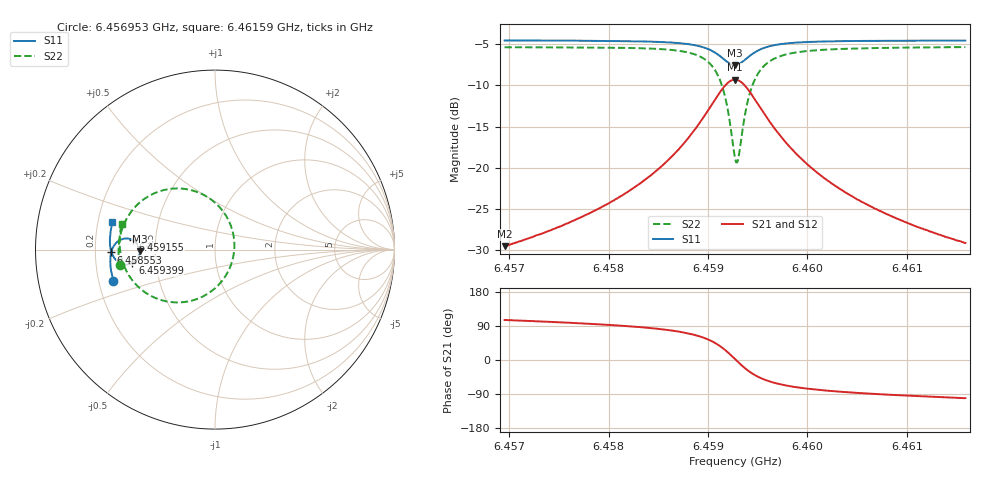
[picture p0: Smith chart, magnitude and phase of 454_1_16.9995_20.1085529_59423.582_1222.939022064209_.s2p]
#  HZ  S  RI  R  50.00
! Rohde & Schwarz Vector Network Analyzer
! Rohde-Schwarz,ZNB20-2Port,1311601062101988,3.16
! Created: UTC 3/20/2024, 11:12:23 PM
! freq[Hz]  re:S11  im:S11  re:S21  im:S21  re:S12  im:S12  re:S22  im:S22
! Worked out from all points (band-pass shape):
!   401 points, 6.456953 GHz to 6.46159 GHz, reference 50 ohm
!   highest |S21| = -9.30 dB at 6.459271 GHz (marker M1); lowest = -29.5 dB at 6.456953 GHz (marker M2)
!   |S21| within 3 dB of the highest: 6.45904 GHz to 6.459503 GHz (463.4 kHz wide, 0.00717 % of centre)
!   lowest |S11| = -7.5 dB at 6.459271 GHz (marker M3), VSWR 2.45, Z = 20.4 - j0.518 ohm
!   |S11| at or under -10 dB: nowhere
!   |S22| runs from -19.3 to -5.4 dB; largest |S21 - S12| = 0.013
!   S11 on the Smith chart (normalised r, x): 6.456953 GHz: 0.26, -0.14; 6.458553 GHz: 0.27, -0.01; 6.459155 GHz: 0.37, +0.05; 6.459399 GHz: 0.37, -0.07; 6.46159 GHz: 0.26, +0.12
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6.4569532e9  -0.5662 -0.174  -0.00893 0.0322  -0.00718 0.0321  -0.5314 -0.087
6.4577298e9  -0.5805 -0.1062  -0.00571 0.05  -0.00323 0.0493  -0.5372 0.00337
6.4581471e9  -0.5835 -0.0646  -7.58e-05 0.0686  0.00299 0.0672  -0.5298 0.0686
6.4585064e9  -0.5798 -0.0221  0.0139 0.098  0.0178 0.0952  -0.5043 0.1483
6.4585527e9  -0.5785 -0.0158  0.0171 0.1033  0.0212 0.1003  -0.4981 0.1615
6.4587614e9  -0.5663 0.0159  0.0431 0.1348  0.0472 0.1301  -0.4496 0.2328
6.458912e9  -0.5452 0.0422  0.0854 0.1647  0.0888 0.1585  -0.3715 0.2968
6.4590627e9  -0.4994 0.0619  0.1766 0.184  0.1776 0.1765  -0.2048 0.3406
6.4591555e9  -0.4552 0.0517  0.2659 0.1532  0.2662 0.1472  -0.0393 0.2912
6.4592018e9  -0.4342 0.0333  0.3094 0.1108  0.3106 0.1055  0.043 0.2155
6.4592714e9  -0.4194 -0.0104  0.3425 0.0147  0.3461 0.00777  0.1078 0.0372
6.4592945e9  -0.4212 -0.0263  0.3405 -0.0206  0.3443 -0.0288  0.1038 -0.0291
6.4593061e9  -0.4233 -0.034  0.337 -0.0375  0.3407 -0.0466  0.0967 -0.0616
6.4593525e9  -0.4388 -0.0597  0.3087 -0.097  0.3108 -0.1087  0.0397 -0.1739
6.4593989e9  -0.4606 -0.076  0.2671 -0.1378  0.2661 -0.1509  -0.0445 -0.2484
6.4594916e9  -0.5036 -0.0826  0.1829 -0.1687  0.1767 -0.1803  -0.2122 -0.2943
6.4596423e9  -0.5472 -0.0621  0.0956 -0.1553  0.0873 -0.1613  -0.3785 -0.2454
6.4598161e9  -0.5696 -0.0326  0.049 -0.1258  0.0416 -0.1284  -0.462 -0.1692
6.4600479e9  -0.5811 0.00107  0.0221 -0.0964  0.0164 -0.0969  -0.5061 -0.0917
6.4603957e9  -0.5856 0.0422  0.00622 -0.0698  0.00221 -0.0694  -0.5274 -0.0131
6.4608245e9  -0.5835 0.0851  -0.00151 -0.0515  -0.00423 -0.0505  -0.5315 0.055
6.4615895e9  -0.5712 0.1528  -0.00639 -0.0343  -0.00815 -0.0334  -0.5201 0.145
